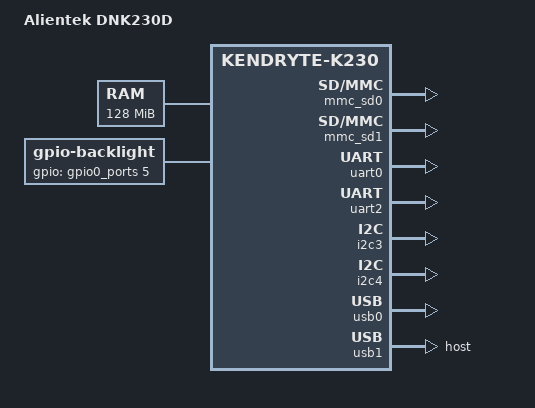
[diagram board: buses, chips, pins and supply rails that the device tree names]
// SPDX-License-Identifier: GPL-2.0 OR MIT
/*
 * Copyright (C) 2024 Alientek
 * Alientek DNK230D development board device tree
 */

#include "k230.dtsi"
#include "display-st7701-480x640.dtsi"

/ {
	model = "Alientek DNK230D";
	compatible = "alientek,dnk230d", "canaan,kendryte-k230";

	aliases {
		serial2 = &uart2;
		mmc0 = &mmc_sd0;
		mmc1 = &mmc_sd1;
	};

	chosen {
		stdout-path = "serial0:115200n8";
	};

	ddr: memory@0 {
		device_type = "memory";
		reg = <0x0 0x0 0x0 0x8000000>;
	};

	sound {
		status                      = "okay";
		compatible                  = "canaan,k230-audio-inno";
		canaan,model                = "K230_I2S_INNO";
		canaan,k230-i2s-controller  = <&i2s>;
		canaan,k230-audio-codec     = <&inno_codec>;
	};

	backlight {
		compatible = "gpio-backlight";
		gpios = <&gpio0_ports 5 GPIO_ACTIVE_HIGH>;
		default-on;
	};
};

&mmc_sd0 {
	status = "okay";
	cap-sd-highspeed;
	rx_delay_line = <0x0d>;
	tx_delay_line = <0xb0>;
	sdhci-caps-mask = <0x2 0>;
};

&mmc_sd1 {
	status = "okay";
	no-1-8-v;
	cap-sd-highspeed;
	mshc_ctrl_r = <0x00>;
};

&uart0 {
	status = "okay";
};

&uart2 {
	status = "okay";
};

&i2c3 {
	status = "okay";
};

&i2c4 {
	status = "okay";
};

&usb0 {
	status = "okay";
};

&usb1 {
	dr_mode = "host";
	status = "okay";
};

&lcd {
	dsi_reset-gpios = <&gpio0_ports 3 GPIO_ACTIVE_HIGH>;
	backlight_gpio-gpios = <&gpio0_ports 5 GPIO_ACTIVE_HIGH>;
};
